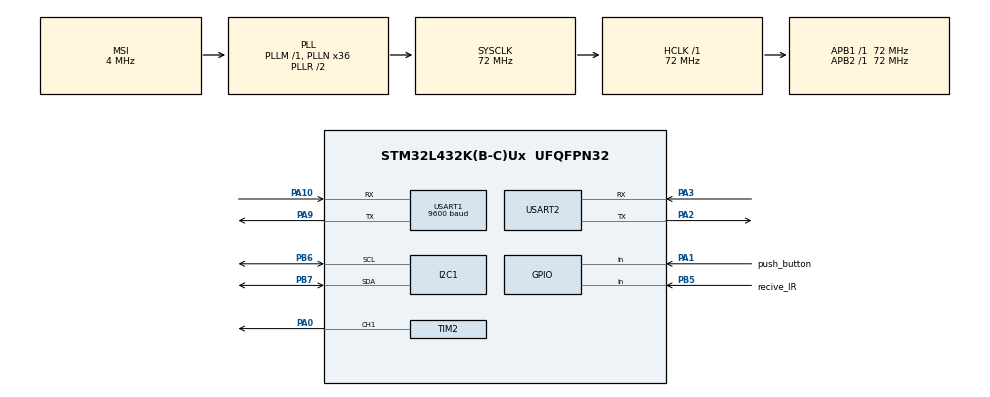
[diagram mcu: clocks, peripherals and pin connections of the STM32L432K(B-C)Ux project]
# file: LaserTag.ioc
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I2C1.Timing=0x10808DD3
Mcu.Family=STM32L4
Mcu.Name=STM32L432K(B-C)Ux
Mcu.Package=UFQFPN32
NVIC.PriorityGroup=NVIC_PRIORITYGROUP_4
NVIC.TIM2_IRQn=true\:0\:0\:false\:false\:true\:true\:true
PA0.Signal=S_TIM2_CH1
PA1.GPIO_Label=push_button
PA1.GPIO_PuPd=GPIO_PULLDOWN
PA1.Signal=GPIO_Input
PA10.Mode=Asynchronous
PA10.Signal=USART1_RX
PA13\ (JTMS-SWDIO).Mode=Serial_Wire
PA13\ (JTMS-SWDIO).Signal=SYS_JTMS-SWDIO
PA14\ (JTCK-SWCLK).Mode=Serial_Wire
PA14\ (JTCK-SWCLK).Signal=SYS_JTCK-SWCLK
PA2.Mode=Asynchronous
PA2.Signal=USART2_TX
PA3.Mode=Asynchronous
PA3.Signal=USART2_RX
PA9.Mode=Asynchronous
PA9.Signal=USART1_TX
PB5.GPIO_Label=recive_IR
PB5.Signal=GPIO_Input
PB6.Mode=I2C
PB6.Signal=I2C1_SCL
PB7.Mode=I2C
PB7.Signal=I2C1_SDA
ProjectManager.HeapSize=0x200
ProjectManager.StackSize=0x400
ProjectManager.TargetToolchain=MDK-ARM V5.27
RCC.AHBFreq_Value=72000000
RCC.APB1Freq_Value=72000000
RCC.APB1TimFreq_Value=72000000
RCC.APB2Freq_Value=72000000
RCC.APB2TimFreq_Value=72000000
RCC.CortexFreq_Value=72000000
RCC.HCLKFreq_Value=72000000
RCC.HSE_VALUE=8000000
RCC.HSI48_VALUE=48000000
RCC.HSI_VALUE=16000000
RCC.LSE_VALUE=32768
RCC.MSI_VALUE=4000000
RCC.PLLN=36
RCC.SYSCLKFreq_VALUE=72000000
RCC.SYSCLKSource=RCC_SYSCLKSOURCE_PLLCLK
RCC.VCOOutputFreq_Value=144000000
SH.S_TIM2_CH1.0=TIM2_CH1,PWM Generation1 CH1
TIM2.Channel-PWM\ Generation1\ CH1=TIM_CHANNEL_1
USART1.BaudRate=9600
USART1.VirtualMode-Asynchronous=VM_ASYNC
USART2.VirtualMode-Asynchronous=VM_ASYNC
board=custom

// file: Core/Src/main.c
/* USER CODE BEGIN Header */
/**
  ******************************************************************************
  * @file           : main.c
  * @brief          : Main program body
  ******************************************************************************
  * @attention
  *
  * <h2><center>&copy; Copyright (c) 2020 STMicroelectronics.
  * All rights reserved.</center></h2>
  *
  * This software component is licensed by ST under BSD 3-Clause license,
  * the "License"; You may not use this file except in compliance with the
  * License. You may obtain a copy of the License at:
  *                        opensource.org/licenses/BSD-3-Clause
  *
  ******************************************************************************
  */
/* USER CODE END Header */
#include "main.h"

/* USER CODE BEGIN Includes */
#include "string.h"
#include <stdio.h>
#include "gui.h"
/* USER CODE END Includes */

I2C_HandleTypeDef hi2c1;

TIM_HandleTypeDef htim2;

UART_HandleTypeDef huart1;
UART_HandleTypeDef huart2;

/* USER CODE BEGIN PV */
const uint32_t HEAL_VAL = 0xe0e048b7;
const uint32_t REPLENISH_VAL = 0xe0e0e01f;

const int8_t MAX_AMMO = 5;
const int8_t MAX_HEALTH = 100;
int8_t ammo = MAX_AMMO;
int8_t health = MAX_HEALTH;

const uint8_t team = 1;
const uint8_t player = 1;
const uint8_t damage = 25;
uint32_t pew_value =(team<<24)|(player<<16)|(damage<<8)|0xff;

char trans_str[96] = {0,};
volatile irparams_t irparams;
decode_results results;
uint8_t shoot = 0;
int16_t i = 0;
uint8_t bt_buff [6] = {team, player, 0, 0, 0, 0};
/* USER CODE END PV */

void SystemClock_Config(void);
static void MX_GPIO_Init(void);
static void MX_TIM2_Init(void);
static void MX_USART2_UART_Init(void);
static void MX_USART1_UART_Init(void);
static void MX_I2C1_Init(void);

/* USER CODE BEGIN 0 */
static inline void val_to_bullet(uint32_t val, uint8_t * t, uint8_t * p, uint8_t * d)
{
	*t=(val>>24)&0xff;
	*p =(val>>16)&0xff;
	*d =(val>>8)&0xff;
}
static inline uint8_t valid(uint32_t val)
{
	return (val&0xff)==0xff;
}
static inline void heal()
{
	//UIheal();
	health=MAX_HEALTH;
}
static inline void replenish()
{
	//UIreload();
	ammo=MAX_AMMO;
}
static inline void debounce(void)
{
	// Counter for number of equal states
	static uint8_t count = 0;
	// Keeps track of current (debounced) state
	static uint8_t button_state = 0;
	// Check if button is high or low for the moment
	uint8_t current_state = HAL_GPIO_ReadPin(GPIOA, GPIO_PIN_1);
	if (current_state != button_state)
	{
		// Button state is about to be changed, increase counter
		count++;
		if (count >= 5) {
			// The button have not bounced for some checks, change state
			button_state = current_state;
			if (current_state != 0) {
				shoot=1;
			}
			count = 0;
		}
	} else {
	// Reset counter
		count = 0;
	}
}
/* USER CODE END 0 */

int main(void)
{

  /* MCU Configuration--------------------------------------------------------*/

  /* Reset of all peripherals, Initializes the Flash interface and the Systick. */
  HAL_Init();

  /* Configure the system clock */
  SystemClock_Config();

  /* Initialize all configured peripherals */
  MX_GPIO_Init();
  MX_TIM2_Init();
  MX_USART2_UART_Init();
  MX_USART1_UART_Init();
  MX_I2C1_Init();
  /* USER CODE BEGIN 2 */
	lcd_init();
	UImain();
	my_enableIRIn();
	static char *decode_str[] = {"UNUSED", "UNKNOWN", "RC5", "RC6", "NEC", "SONY", "PANASONIC", "JVC", "SAMSUNG", "WHYNTER", "AIWA_RC_T501", "LG", "SANYO", "MITSUBISHI", "DISH", "SHARP", "DENON", "PRONTO"};

  /* USER CODE END 2 */

  /* Infinite loop */
  /* USER CODE BEGIN WHILE */
  while (1)
  {
		// you can only shoot if you have health and ammo
		if(health>0 && ammo>0)
		{
			debounce();
			if (shoot)
			{
				ammo--;
				shoot = 0;
				snprintf(trans_str, 96, "PEW %p\n", (void*)pew_value);
				HAL_UART_Transmit(&huart2, (uint8_t*)trans_str, strlen(trans_str), HAL_MAX_DELAY);
				sendSAMSUNG(pew_value, 32);
				HAL_Delay(20);
				my_enableIRIn();
			}
		}
		// but you can always receive IR
		if(my_decode(&results))
		{
			// For debugging
			snprintf(trans_str, 96, "Cod: %p | Type: %s | Bits: %d\n", (void*)results.value, decode_str[results.decode_type + 1], results.bits);
			HAL_UART_Transmit(&huart2, (uint8_t*)trans_str, strlen(trans_str), HAL_MAX_DELAY);
			// You can be healed,
			if     (results.value==HEAL_VAL){heal();}
			// replenished,
			else if(results.value==REPLENISH_VAL){replenish();}
			// or shot
			else if(health>0 && valid(results.value))
			{
				uint8_t a_team, a_player, a_damage, killed;
				val_to_bullet(results.value, &a_team, &a_player, &a_damage);
				health-=damage;
				if(health<0)health=0;
				killed = health==0;
				snprintf(trans_str, 96, "team: %d | player: %d | damage: %d\n", a_team, a_player, a_damage);
				HAL_UART_Transmit(&huart2, (uint8_t*)trans_str, strlen(trans_str), HAL_MAX_DELAY);
				bt_buff[2] = a_team;
				bt_buff[3] = a_player;
				bt_buff[4] = a_damage;
				bt_buff[5]= killed;
				HAL_UART_Transmit(&huart1, bt_buff, sizeof(bt_buff), HAL_MAX_DELAY);
			}
			// resume receiving IR
			my_resume();
			HAL_Delay(20);
		}
		// Periodic display of status (for debugging)
		/*if(i%100==0)
		{
			UIammo(ammo);
			snprintf(trans_str, 96, "Team: %d |Player: %d |Health: %d | Ammo: %d\n", team, player, health, ammo);
			HAL_UART_Transmit(&huart2, (uint8_t*)trans_str, strlen(trans_str), HAL_MAX_DELAY);
		}
		else */
		if (i%50==0)
		{
			UIhealth(health);
			UIammo(ammo);
			snprintf(trans_str, 96, "Team: %d |Player: %d |Health: %d | Ammo: %d\n", team, player, health, ammo);
			HAL_UART_Transmit(&huart2, (uint8_t*)trans_str, strlen(trans_str), HAL_MAX_DELAY);
		}
		i++;
		HAL_Delay(10);
    /* USER CODE END WHILE */

  }
}

void SystemClock_Config(void)
{
  RCC_OscInitTypeDef RCC_OscInitStruct = {0};
  RCC_ClkInitTypeDef RCC_ClkInitStruct = {0};
  RCC_PeriphCLKInitTypeDef PeriphClkInit = {0};

  /** Initializes the RCC Oscillators according to the specified parameters
  * in the RCC_OscInitTypeDef structure.
  */
  RCC_OscInitStruct.OscillatorType = RCC_OSCILLATORTYPE_MSI;
  RCC_OscInitStruct.MSIState = RCC_MSI_ON;
  RCC_OscInitStruct.MSICalibrationValue = 0;
  RCC_OscInitStruct.MSIClockRange = RCC_MSIRANGE_6;
  RCC_OscInitStruct.PLL.PLLState = RCC_PLL_ON;
  RCC_OscInitStruct.PLL.PLLSource = RCC_PLLSOURCE_MSI;
  RCC_OscInitStruct.PLL.PLLM = 1;
  RCC_OscInitStruct.PLL.PLLN = 36;
  RCC_OscInitStruct.PLL.PLLP = RCC_PLLP_DIV7;
  RCC_OscInitStruct.PLL.PLLQ = RCC_PLLQ_DIV2;
  RCC_OscInitStruct.PLL.PLLR = RCC_PLLR_DIV2;
  if (HAL_RCC_OscConfig(&RCC_OscInitStruct) != HAL_OK)
  {
    Error_Handler();
  }
  /** Initializes the CPU, AHB and APB buses clocks
  */
  RCC_ClkInitStruct.ClockType = RCC_CLOCKTYPE_HCLK|RCC_CLOCKTYPE_SYSCLK
                              |RCC_CLOCKTYPE_PCLK1|RCC_CLOCKTYPE_PCLK2;
  RCC_ClkInitStruct.SYSCLKSource = RCC_SYSCLKSOURCE_PLLCLK;
  RCC_ClkInitStruct.AHBCLKDivider = RCC_SYSCLK_DIV1;
  RCC_ClkInitStruct.APB1CLKDivider = RCC_HCLK_DIV1;
  RCC_ClkInitStruct.APB2CLKDivider = RCC_HCLK_DIV1;

  if (HAL_RCC_ClockConfig(&RCC_ClkInitStruct, FLASH_LATENCY_4) != HAL_OK)
  {
    Error_Handler();
  }
  PeriphClkInit.PeriphClockSelection = RCC_PERIPHCLK_USART1|RCC_PERIPHCLK_USART2
                              |RCC_PERIPHCLK_I2C1;
  PeriphClkInit.Usart1ClockSelection = RCC_USART1CLKSOURCE_PCLK2;
  PeriphClkInit.Usart2ClockSelection = RCC_USART2CLKSOURCE_PCLK1;
  PeriphClkInit.I2c1ClockSelection = RCC_I2C1CLKSOURCE_PCLK1;
  if (HAL_RCCEx_PeriphCLKConfig(&PeriphClkInit) != HAL_OK)
  {
    Error_Handler();
  }
  /** Configure the main internal regulator output voltage
  */
  if (HAL_PWREx_ControlVoltageScaling(PWR_REGULATOR_VOLTAGE_SCALE1) != HAL_OK)
  {
    Error_Handler();
  }
}

static void MX_I2C1_Init(void)
{

  hi2c1.Instance = I2C1;
  hi2c1.Init.Timing = 0x10808DD3;
  hi2c1.Init.OwnAddress1 = 0;
  hi2c1.Init.AddressingMode = I2C_ADDRESSINGMODE_7BIT;
  hi2c1.Init.DualAddressMode = I2C_DUALADDRESS_DISABLE;
  hi2c1.Init.OwnAddress2 = 0;
  hi2c1.Init.OwnAddress2Masks = I2C_OA2_NOMASK;
  hi2c1.Init.GeneralCallMode = I2C_GENERALCALL_DISABLE;
  hi2c1.Init.NoStretchMode = I2C_NOSTRETCH_DISABLE;
  if (HAL_I2C_Init(&hi2c1) != HAL_OK)
  {
    Error_Handler();
  }
  /** Configure Analogue filter
  */
  if (HAL_I2CEx_ConfigAnalogFilter(&hi2c1, I2C_ANALOGFILTER_ENABLE) != HAL_OK)
  {
    Error_Handler();
  }
  /** Configure Digital filter
  */
  if (HAL_I2CEx_ConfigDigitalFilter(&hi2c1, 0) != HAL_OK)
  {
    Error_Handler();
  }

}

static void MX_TIM2_Init(void)
{

  TIM_MasterConfigTypeDef sMasterConfig = {0};
  TIM_OC_InitTypeDef sConfigOC = {0};

  htim2.Instance = TIM2;
  htim2.Init.Prescaler = 0;
  htim2.Init.CounterMode = TIM_COUNTERMODE_UP;
  htim2.Init.Period = 4294967295;
  htim2.Init.ClockDivision = TIM_CLOCKDIVISION_DIV1;
  htim2.Init.AutoReloadPreload = TIM_AUTORELOAD_PRELOAD_DISABLE;
  if (HAL_TIM_PWM_Init(&htim2) != HAL_OK)
  {
    Error_Handler();
  }
  sMasterConfig.MasterOutputTrigger = TIM_TRGO_RESET;
  sMasterConfig.MasterSlaveMode = TIM_MASTERSLAVEMODE_DISABLE;
  if (HAL_TIMEx_MasterConfigSynchronization(&htim2, &sMasterConfig) != HAL_OK)
  {
    Error_Handler();
  }
  sConfigOC.OCMode = TIM_OCMODE_PWM1;
  sConfigOC.Pulse = 0;
  sConfigOC.OCPolarity = TIM_OCPOLARITY_HIGH;
  sConfigOC.OCFastMode = TIM_OCFAST_DISABLE;
  if (HAL_TIM_PWM_ConfigChannel(&htim2, &sConfigOC, TIM_CHANNEL_1) != HAL_OK)
  {
    Error_Handler();
  }
  HAL_TIM_MspPostInit(&htim2);

}

static void MX_USART1_UART_Init(void)
{

  huart1.Instance = USART1;
  huart1.Init.BaudRate = 9600;
  huart1.Init.WordLength = UART_WORDLENGTH_8B;
  huart1.Init.StopBits = UART_STOPBITS_1;
  huart1.Init.Parity = UART_PARITY_NONE;
  huart1.Init.Mode = UART_MODE_TX_RX;
  huart1.Init.HwFlowCtl = UART_HWCONTROL_NONE;
  huart1.Init.OverSampling = UART_OVERSAMPLING_16;
  huart1.Init.OneBitSampling = UART_ONE_BIT_SAMPLE_DISABLE;
  huart1.AdvancedInit.AdvFeatureInit = UART_ADVFEATURE_NO_INIT;
  if (HAL_UART_Init(&huart1) != HAL_OK)
  {
    Error_Handler();
  }

}

static void MX_USART2_UART_Init(void)
{

  huart2.Instance = USART2;
  huart2.Init.BaudRate = 115200;
  huart2.Init.WordLength = UART_WORDLENGTH_8B;
  huart2.Init.StopBits = UART_STOPBITS_1;
  huart2.Init.Parity = UART_PARITY_NONE;
  huart2.Init.Mode = UART_MODE_TX_RX;
  huart2.Init.HwFlowCtl = UART_HWCONTROL_NONE;
  huart2.Init.OverSampling = UART_OVERSAMPLING_16;
  huart2.Init.OneBitSampling = UART_ONE_BIT_SAMPLE_DISABLE;
  huart2.AdvancedInit.AdvFeatureInit = UART_ADVFEATURE_NO_INIT;
  if (HAL_UART_Init(&huart2) != HAL_OK)
  {
    Error_Handler();
  }

}

static void MX_GPIO_Init(void)
{
  GPIO_InitTypeDef GPIO_InitStruct = {0};

  /* GPIO Ports Clock Enable */
  __HAL_RCC_GPIOA_CLK_ENABLE();
  __HAL_RCC_GPIOB_CLK_ENABLE();

  /*Configure GPIO pin : push_button_Pin */
  GPIO_InitStruct.Pin = push_button_Pin;
  GPIO_InitStruct.Mode = GPIO_MODE_INPUT;
  GPIO_InitStruct.Pull = GPIO_PULLDOWN;
  HAL_GPIO_Init(push_button_GPIO_Port, &GPIO_InitStruct);

  /*Configure GPIO pin : recive_IR_Pin */
  GPIO_InitStruct.Pin = recive_IR_Pin;
  GPIO_InitStruct.Mode = GPIO_MODE_INPUT;
  GPIO_InitStruct.Pull = GPIO_NOPULL;
  HAL_GPIO_Init(recive_IR_GPIO_Port, &GPIO_InitStruct);

}

void Error_Handler(void)
{
}

/************************ (C) COPYRIGHT STMicroelectronics *****END OF FILE****/
